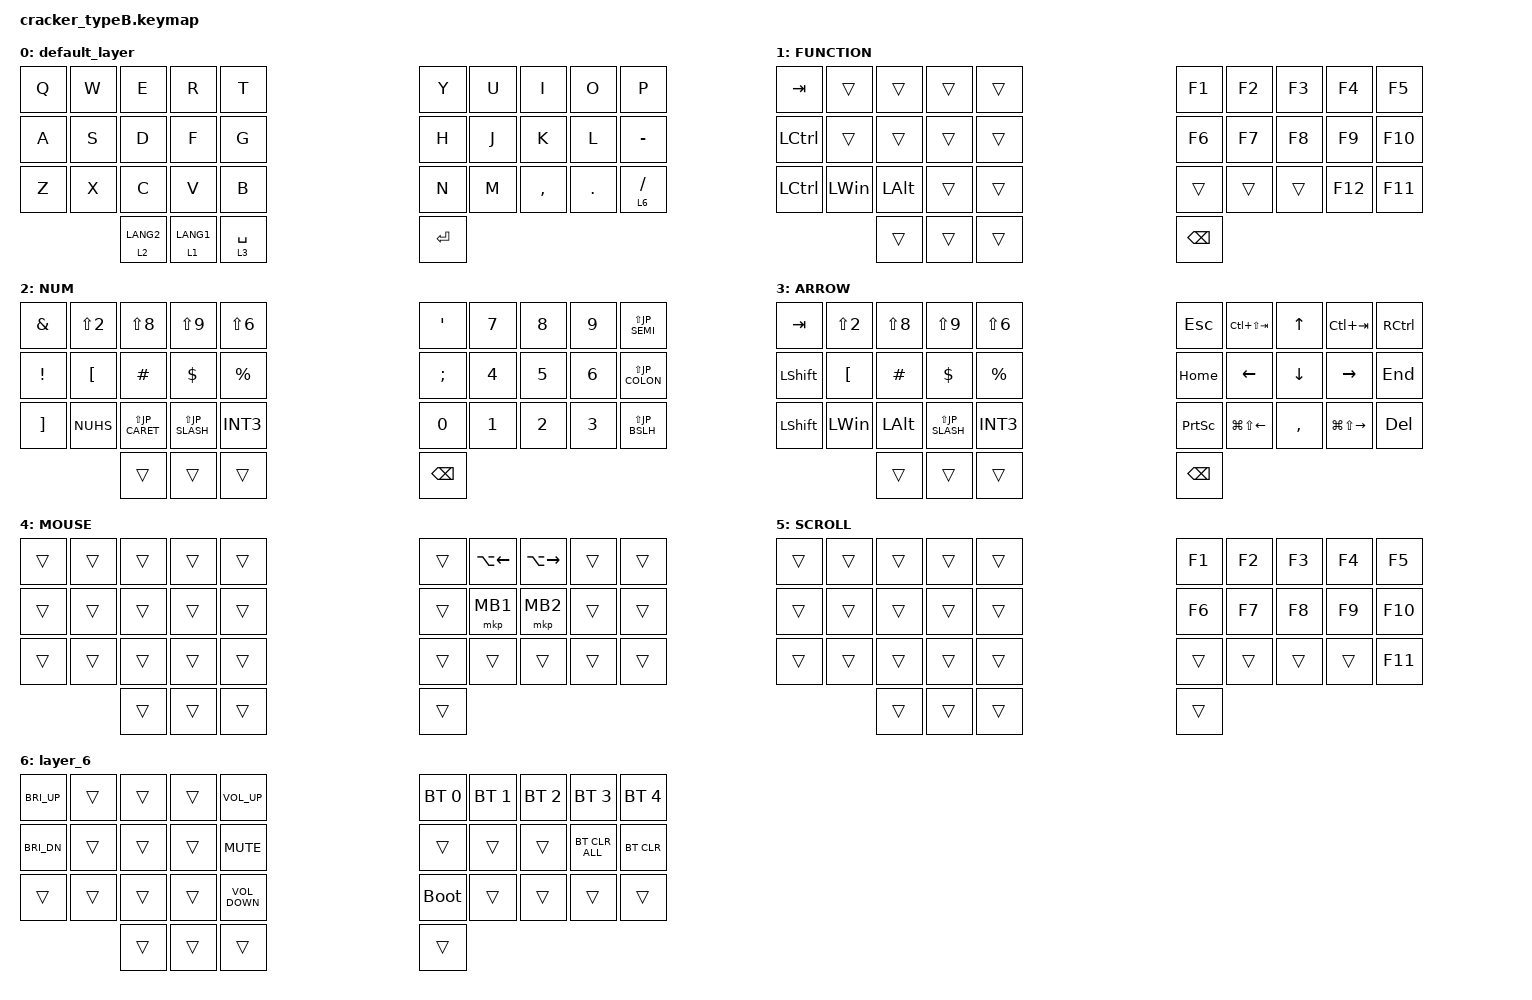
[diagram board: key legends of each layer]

#include <input/processors.dtsi>
#include <behaviors.dtsi>
#include <dt-bindings/zmk/bt.h>
#include <dt-bindings/zmk/keys.h>
#include <dt-bindings/zmk/pointing.h>

#define MOUSE 4
#define SCROLL 5
#define NUM 6
#define JP_ZKHK  GRAVE        // Zenkaku ? Hankaku ? Kanji (半角 ? 全角 ? 漢字)
#define JP_MINUS MINUS        // -
#define JP_CARET EQUAL        // ^
#define JP_YEN   INT3         // ?
#define JP_AT    LBKT         // @
#define JP_LBKT  RBKT         // [
#define JP_EISU  CAPS         // Eis? (英数)
#define JP_SEMI  SEMI         // ;
#define JP_COLON SQT          // :
#define JP_RBKT  NUHS         // ]
#define JP_COMMA COMMA        // ,
#define JP_DOT   DOT          // .
#define JP_SLASH SLASH        // /
#define JP_BSLH  INT1         // (backslash)
#define JP_MHEN  INT5         // Muhenkan (無変換)
#define JP_HENK  INT4         // Henkan (変換)
#define JP_KANA  INT2         // Katakana ? Hiragana ? R?maji (カタカナ ? ひらがな ? ローマ字)
#define JP_EXCL  LS(N1)       // !
#define JP_DQT   LS(N2)       // "
#define JP_HASH  LS(N3)       // #
#define JP_DLLR  LS(N4)       // $
#define JP_PRCNT LS(N5)       // %
#define JP_AMPS  LS(N6)       // &
#define JP_SQT   LS(N7)       // '
#define JP_LPAR  LS(N8)       // (
#define JP_RPAR  LS(N9)       // )
#define JP_EQUAL LS(JP_MINUS) // =
#define JP_TILDE LS(JP_CARET) // ~
#define JP_PIPE  LS(JP_YEN)   // |
#define JP_GRAVE LS(JP_AT)    // `
#define JP_LBRC  LS(JP_LBKT)  // {
#define JP_CAPS  LS(JP_EISU)  // Caps Lock
#define JP_PLUS  LS(JP_SEMI)  // +
#define JP_ASTRK LS(JP_COLON) // *
#define JP_RBRC  LS(JP_RBKT)  // }
#define JP_LT    LS(JP_COMMA) // <
#define JP_RT    LS(JP_DOT)   // >
#define JP_QMARK LS(JP_SLASH) // ?
#define JP_UNDER LS(JP_BSLH)  // _

&mt {
    flavor = "balanced";
    quick-tap-ms = <0>;
};

&mkp_input_listener { input-processors = <&zip_temp_layer 4 250>; };

/ {
    macros {
        to_layer_0: to_layer_0 {
            compatible = "zmk,behavior-macro-one-param";
            #binding-cells = <1>;
            bindings = <&to 0 &macro_param_1to1 &kp MACRO_PLACEHOLDER>;
            label = "TO_LAYER_0";
        };

        exit_AML: exit_AML {
            compatible = "zmk,behavior-macro";
            wait-ms = <0>;
            tap-ms = <0>;
            #binding-cells = <0>;
            bindings = <&tog_off MOUSE>;
            label = "exit_AML";
        };

        kp_exit_AML: kp_exit_AML {
            compatible = "zmk,behavior-macro-one-param";
            wait-ms = <0>;
            tap-ms = <0>;
            #binding-cells = <1>;
            bindings = <&macro_param_1to1 &kp MACRO_PLACEHOLDER &exit_AML>;
            label = "KP_exit_AML";
        };
    };

    behaviors {
        lt_to_layer_0: lt_to_layer_0 {
            compatible = "zmk,behavior-hold-tap";
            label = "LAYER_TAP_TO_0";
            bindings = <&mo>, <&to_layer_0>;

            #binding-cells = <2>;
            tapping-term-ms = <200>;
        };

        tog_off: toggle_layer_off {
            compatible = "zmk,behavior-toggle-layer";
            #binding-cells = <1>;
            display-name = "Toggle Layer Off";
            toggle-mode = "off";
        };

        mt_exit_AML_on_tap: mt_exit_AML_on_tap {
            compatible = "zmk,behavior-hold-tap";
            label = "MT_exit_AML_ON_TAP";
            bindings = <&kp>, <&kp_exit_AML>;

            #binding-cells = <2>;
            tapping-term-ms = <200>;
            flavor = "balanced";
            quick-tap-ms = <200>;
        };
    };

    combos {
		compatible = "zmk,combos";
		combo_layer5 {
            timeout-ms = <100>;
            key-positions = <16 17>;     // j と k の位置
            bindings = <&mo 5>;        // 押している間レイヤー5
            layers = <4>;              // レイヤー4でのみ有効
        };
	};

    keymap {
        compatible = "zmk,keymap";

        default_layer {
            bindings = <
&kp Q         &kp W              &kp E                    &kp R                     &kp T                    &kp Y     &kp U  &kp I      &kp O     &kp P
&kp A         &kp S              &kp D                    &kp F                     &kp G                    &kp H     &kp J  &kp K      &kp L     &kp MINUS
&kp Z         &kp X              &kp C                    &kp V                     &kp B                    &kp N     &kp M  &kp COMMA  &kp DOT   &lt_to_layer_0 6 SLASH
                                 &lt_to_layer_0 2 LANG2   &lt_to_layer_0 1  LANG1   &lt_to_layer_0 3 SPACE   &kp ENTER
            >;
        };

        FUNCTION {
            bindings = <
&kp TAB            &trans         &trans         &trans  &trans              &kp F1  &kp F2  &kp F3  &kp F4  &kp F5
&kp LCTRL          &trans         &trans         &trans  &trans              &kp F6  &kp F7  &kp F8  &kp F9  &kp F10
&kp LCTRL          &kp LEFT_WIN   &kp LEFT_ALT   &trans  &trans              &trans  &trans  &trans  &kp F12 &kp F11
                                  &trans         &trans  &trans              &kp BACKSPACE
            >;
        };

        NUM {
            bindings = <
&kp AMPERSAND    &kp JP_DQT   &kp JP_LPAR   &kp JP_RPAR   &kp JP_AMPS          &kp SQT        &kp NUMBER_7  &kp NUMBER_8  &kp NUMBER_9  &kp JP_PLUS
&kp EXCLAMATION  &kp JP_AT    &kp HASH      &kp DOLLAR    &kp PERCENT          &kp JP_SEMI    &kp NUMBER_4  &kp NUMBER_5  &kp NUMBER_6  &kp JP_ASTRK
&kp JP_LBKT      &kp JP_RBKT  &kp JP_TILDE  &kp JP_QMARK  &kp JP_YEN           &kp NUMBER_0   &kp NUMBER_1  &kp NUMBER_2  &kp NUMBER_3  &kp JP_UNDER
                              &trans        &trans        &trans               &kp BACKSPACE
            >;
        };

        ARROW {
            bindings = <
&kp TAB          &kp JP_DQT    &kp JP_LPAR   &kp JP_RPAR   &kp JP_AMPS          &kp ESCAPE      &kp LC(LS(TAB))         &kp UP_ARROW    &kp LC(TAB)                   &kp RCTRL
&kp LEFT_SHIFT   &kp JP_AT     &kp HASH      &kp DOLLAR    &kp PERCENT          &kp HOME        &kp LEFT_ARROW          &kp DOWN_ARROW  &kp RIGHT_ARROW               &kp END
&kp LEFT_SHIFT   &kp LEFT_WIN  &kp LEFT_ALT  &kp JP_QMARK  &kp JP_YEN           &kp PSCRN       &kp LG(LS(LEFT_ARROW))  &kp COMMA       &kp LG(LS(RIGHT_ARROW))       &kp DEL
                               &trans        &trans        &trans               &kp BACKSPACE
            >;
        };

        MOUSE {
            bindings = <
&trans  &trans  &trans  &trans  &trans        &trans       &kp LA(LEFT_ARROW)      &kp LA(RIGHT_ARROW)   &trans    &trans
&trans  &trans  &trans  &trans  &trans        &trans       &mkp MB1                &mkp MB2              &trans    &trans
&trans  &trans  &trans  &trans  &trans        &trans       &trans                  &trans                &trans    &trans
                &trans  &trans  &trans        &trans
            >;
        };

        SCROLL {
            bindings = <
&trans  &trans  &trans  &trans  &trans          &kp F1  &kp F2  &kp F3  &kp F4  &kp F5
&trans  &trans  &trans  &trans  &trans          &kp F6  &kp F7  &kp F8  &kp F9  &kp F10
&trans  &trans  &trans  &trans  &trans          &trans  &trans  &trans  &trans  &kp F11
                &trans  &trans  &trans          &trans
            >;
        };

        layer_6 {
            bindings = <
&kp C_BRI_UP  &trans  &trans  &trans  &kp C_VOLUME_UP       &bt BT_SEL 0  &bt BT_SEL 1  &bt BT_SEL 2  &bt BT_SEL 3    &bt BT_SEL 4
&kp C_BRI_DN  &trans  &trans  &trans  &kp C_MUTE            &trans        &trans        &trans        &bt BT_CLR_ALL  &bt BT_CLR
&trans        &trans  &trans  &trans  &kp C_VOLUME_DOWN     &bootloader   &trans        &trans        &trans          &trans
                      &trans  &trans  &trans                &trans
            >;
        };
    };
};
